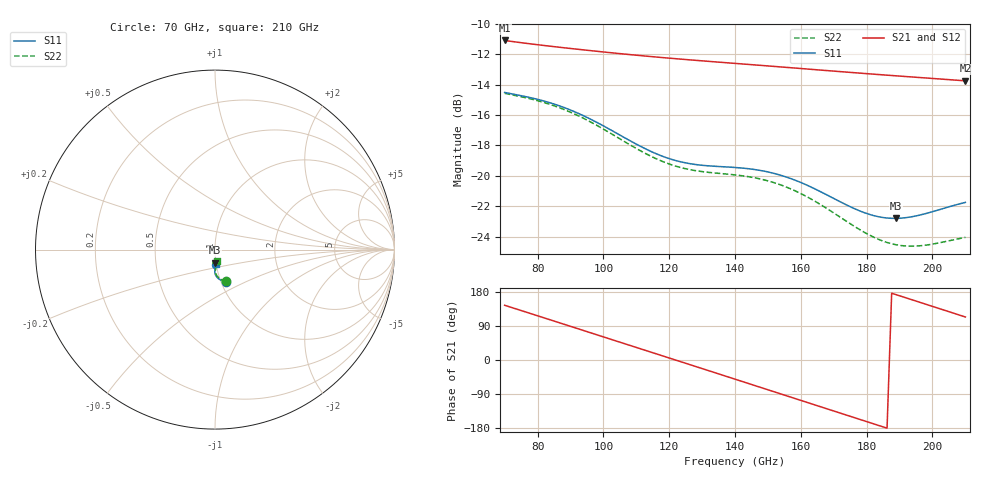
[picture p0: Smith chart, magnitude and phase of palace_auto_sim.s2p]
#  GHZ S DB R 50
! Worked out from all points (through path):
!   101 points, 70 GHz to 210 GHz, reference 50 ohm
!   highest |S21| = -11.08 dB at 70 GHz (marker M1); lowest = -13.7 dB at 210 GHz (marker M2)
!   group delay of S21, straight-line fit = 7.76 ps
!   lowest |S11| = -22.8 dB at 189 GHz (marker M3), VSWR 1.16, Z = 49.4 - j7.19 ohm
!   |S11| at or under -10 dB: start of sweep to end of sweep
!   |S22| runs from -24.6 to -14.6 dB; largest |S21 - S12| = 4e-14
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70  -14.51 -71.8  -11.08 144.5  -11.08 144.5  -14.56 -70.4
77  -14.81 -74.9  -11.28 125.1  -11.28 125.1  -14.89 -73.5
82.6  -15.11 -78.0  -11.43 109.5  -11.43 109.5  -15.21 -76.7
88.2  -15.51 -81.5  -11.57 93.9  -11.57 93.9  -15.65 -80.2
93.8  -16.02 -84.8  -11.70 78.3  -11.70 78.3  -16.19 -83.5
99.4  -16.64 -87.6  -11.83 62.7  -11.83 62.7  -16.85 -86.3
106.4  -17.48 -89.8  -11.98 43.2  -11.98 43.2  -17.74 -88.5
112  -18.14 -90.4  -12.09 27.6  -12.09 27.6  -18.44 -89.0
117.6  -18.68 -90.1  -12.20 12.0  -12.20 12.0  -19.02 -88.6
123.2  -19.06 -89.3  -12.31 -3.6  -12.31 -3.6  -19.44 -87.8
128.8  -19.28 -88.7  -12.40 -19.2  -12.40 -19.2  -19.69 -87.3
140  -19.45 -89.9  -12.59 -50.5  -12.59 -50.5  -19.94 -88.6
145.6  -19.57 -91.7  -12.69 -66.2  -12.69 -66.2  -20.11 -90.5
151.2  -19.80 -94.0  -12.78 -81.9  -12.78 -81.9  -20.41 -93.0
156.8  -20.17 -96.2  -12.88 -97.6  -12.88 -97.6  -20.85 -95.5
163.8  -20.81 -98.3  -13.00 -117.2  -13.00 -117.2  -21.61 -98.0
176.4  -22.17 -97.5  -13.21 -152.5  -13.21 -152.5  -23.35 -97.7
182  -22.61 -94.9  -13.30 -168.1  -13.30 -168.1  -24.03 -95.0
187.6  -22.80 -91.6  -13.39 176.2  -13.39 176.2  -24.48 -91.0
189  -22.80 -90.8  -13.41 172.3  -13.41 172.3  -24.54 -90.0
198.8  -22.44 -86.7  -13.57 144.9  -13.57 144.9  -24.54 -83.3
210  -21.75 -87.1  -13.74 113.5  -13.74 113.5  -24.05 -80.0
